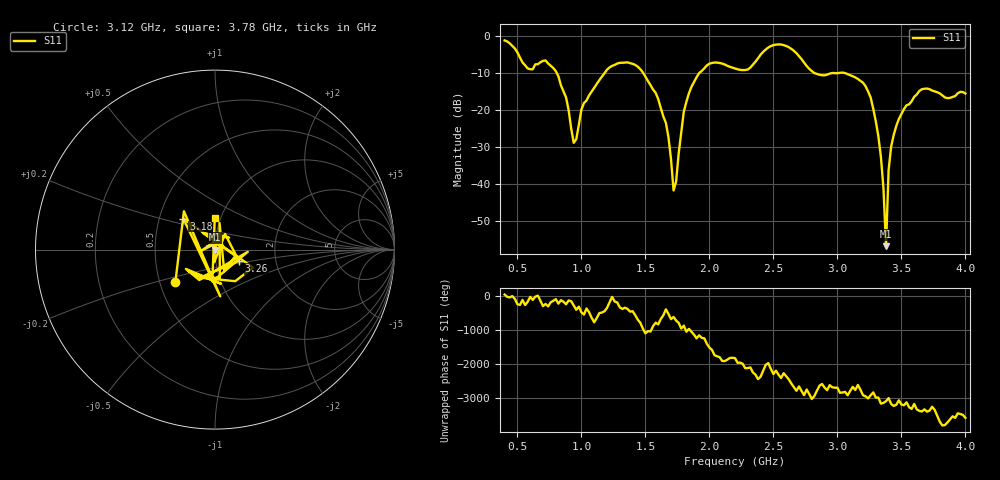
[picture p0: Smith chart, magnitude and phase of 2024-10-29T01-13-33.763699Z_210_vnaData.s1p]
!Created with skrf (http://scikit-rf.org).
# Hz S RI R 50.0
!freq ReS11 ImS11
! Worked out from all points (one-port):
!   181 points, 400 MHz to 4 GHz, reference 50 ohm
!   lowest |S11| = -56.9 dB at 3.38 GHz (marker M1), VSWR 1.00, Z = 49.9 + j0.0493 ohm
!   |S11| at or under -10 dB: 807.3 MHz to 1.182 GHz (374.3 MHz wide, 37.6 % of centre); 1.483 GHz to 1.921 GHz (438.4 MHz wide, 25.8 % of centre); 3.055 GHz to end of sweep (the widest 3 of 4)
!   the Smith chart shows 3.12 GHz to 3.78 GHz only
!   S11 on the Smith chart (normalised r, x): 3.12 GHz: 0.60, -0.24; 3.18 GHz: 0.66, +0.24; 3.26 GHz: 1.30, -0.17; 3.78 GHz: 0.94, +0.34
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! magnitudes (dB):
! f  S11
! 400 MHz  -1.2
! 580 MHz  -8.8
! 720 MHz  -6.6
! 860 MHz  -15.0
! 940 MHz  -28.9
! 1.02 GHz  -18.1
! 1.3 GHz  -7.3
! 1.58 GHz  -15.4
! 1.66 GHz  -23.5
! 1.72 GHz  -41.8
! 1.76 GHz  -31.8
! 1.8 GHz  -20.5
! 1.92 GHz  -10.0
! 2.2 GHz  -8.8
! 2.66 GHz  -4.0
! 2.82 GHz  -10.0
! 3.1 GHz  -10.6
! 3.12 GHz  -10.9
! 3.18 GHz  -12.1
! 3.26 GHz  -16.6
! 3.34 GHz  -32.8
! 3.36 GHz  -41.3
! 3.38 GHz  -56.9
! 3.4 GHz  -36.3
! 3.42 GHz  -29.9
! 3.56 GHz  -18.5
! 3.78 GHz  -15.2
! 4 GHz  -15.6
